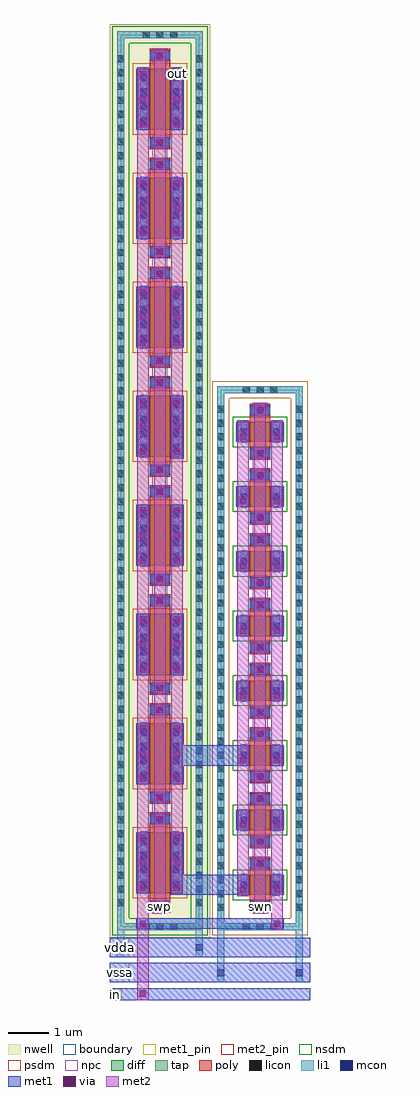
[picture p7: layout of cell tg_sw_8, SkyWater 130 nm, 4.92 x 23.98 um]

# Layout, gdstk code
import gdstk
lib = gdstk.Library(unit=1e-6, precision=1e-09)
def R(c, l, rs):  # rectangles x0, y0, x1, y1
    for r in rs: c.add(gdstk.rectangle(r[:2], r[2:], *l))
def A(c, l, x, y, w, h, nx, ny, dx, dy):  # array of equal rectangles
    R(c, l, [(x+i*dx, y+j*dy, x+i*dx+w, y+j*dy+h) for i in range(nx) for j in range(ny)])
nwell = (64, 20)
diff = (65, 20)
tap = (65, 44)
poly = (66, 20)
licon = (66, 44)
li1 = (67, 20)
mcon = (67, 44)
met1_pin = (68, 16)
met1 = (68, 20)
via = (68, 44)
met2_pin = (69, 16)
met2 = (69, 20)
nsdm = (93, 44)
psdm = (94, 20)
npc = (95, 20)
boundary = (235, 4)

sky130_fd_pr__nfet_01v8_ = lib.new_cell('sky130_fd_pr__nfet_01v8_KDBLWN')
A(sky130_fd_pr__nfet_01v8_, diff, -0.54, -5.815, 1.08, 0.5, 1, 8, 0, 1.59)
R(sky130_fd_pr__nfet_01v8_, tap, [(-1.05,-6.685,1.05,-6.515), (-1.05,-6.515,-0.88,6.515), (0.88,-6.515,1.05,6.515), (-1.05,6.515,1.05,6.685)])
A(sky130_fd_pr__nfet_01v8_, poly, -0.25, -6.255, 0.5, 1.38, 1, 8, 0, 1.59)
A(sky130_fd_pr__nfet_01v8_, licon, -0.425, -6.685, 0.17, 0.17, 3, 2, 0.34, 13.2)
A(sky130_fd_pr__nfet_01v8_, licon, -1.05, -6.205, 0.17, 0.17, 1, 37, 0, 0.34)
A(sky130_fd_pr__nfet_01v8_, licon, 0.88, -6.205, 0.17, 0.17, 1, 37, 0, 0.34)
A(sky130_fd_pr__nfet_01v8_, licon, -0.48, -5.65, 0.17, 0.17, 1, 8, 0, 1.59)
A(sky130_fd_pr__nfet_01v8_, licon, 0.31, -5.65, 0.17, 0.17, 1, 8, 0, 1.59)
R(sky130_fd_pr__nfet_01v8_, licon, [(-0.085,-6.175,0.085,-6.005), (-0.085,-5.125,0.085,-4.955), (-0.085,-4.585,0.085,-4.415), (-0.085,-3.535,0.085,-3.365), (-0.085,-2.995,0.085,-2.825), (-0.085,-1.945,0.085,-1.775), (-0.085,-1.405,0.085,-1.235), (-0.085,-0.355,0.085,-0.185), (-0.085,0.185,0.085,0.355), (-0.085,1.235,0.085,1.405), (-0.085,1.775,0.085,1.945), (-0.085,2.825,0.085,2.995), (-0.085,3.365,0.085,3.535), (-0.085,4.415,0.085,4.585), (-0.085,4.955,0.085,5.125), (-0.085,6.005,0.085,6.175)])
A(sky130_fd_pr__nfet_01v8_, li1, -0.48, -5.835, 0.17, 0.54, 1, 8, 0, 1.59)
A(sky130_fd_pr__nfet_01v8_, li1, 0.31, -5.835, 0.17, 0.54, 1, 8, 0, 1.59)
R(sky130_fd_pr__nfet_01v8_, li1, [(-1.05,-6.685,1.05,-6.515), (-1.05,-6.515,-0.88,6.515), (0.88,-6.515,1.05,6.515), (-0.25,-6.175,0.25,-6.005), (-0.25,-5.125,0.25,-4.955), (-0.25,-4.585,0.25,-4.415), (-0.25,-3.535,0.25,-3.365), (-0.25,-2.995,0.25,-2.825), (-0.25,-1.945,0.25,-1.775), (-0.25,-1.405,0.25,-1.235), (-0.25,-0.355,0.25,-0.185), (-0.25,0.185,0.25,0.355), (-0.25,1.235,0.25,1.405), (-0.25,1.775,0.25,1.945), (-0.25,2.825,0.25,2.995), (-0.25,3.365,0.25,3.535), (-0.25,4.415,0.25,4.585), (-0.25,4.955,0.25,5.125), (-0.25,6.005,0.25,6.175), (-1.05,6.515,1.05,6.685)])
A(sky130_fd_pr__nfet_01v8_, mcon, -0.48, -5.65, 0.17, 0.17, 1, 8, 0, 1.59)
A(sky130_fd_pr__nfet_01v8_, mcon, 0.31, -5.65, 0.17, 0.17, 1, 8, 0, 1.59)
R(sky130_fd_pr__nfet_01v8_, mcon, [(-0.085,-6.175,0.085,-6.005), (-0.085,-5.125,0.085,-4.955), (-0.085,-4.585,0.085,-4.415), (-0.085,-3.535,0.085,-3.365), (-0.085,-2.995,0.085,-2.825), (-0.085,-1.945,0.085,-1.775), (-0.085,-1.405,0.085,-1.235), (-0.085,-0.355,0.085,-0.185), (-0.085,0.185,0.085,0.355), (-0.085,1.235,0.085,1.405), (-0.085,1.775,0.085,1.945), (-0.085,2.825,0.085,2.995), (-0.085,3.365,0.085,3.535), (-0.085,4.415,0.085,4.585), (-0.085,4.955,0.085,5.125), (-0.085,6.005,0.085,6.175)])
A(sky130_fd_pr__nfet_01v8_, met1, -0.51, -5.815, 0.23, 0.5, 1, 8, 0, 1.59)
A(sky130_fd_pr__nfet_01v8_, met1, 0.28, -5.815, 0.23, 0.5, 1, 8, 0, 1.59)
R(sky130_fd_pr__nfet_01v8_, met1, [(-0.23,-6.205,0.23,-5.975), (-0.23,-5.155,0.23,-4.925), (-0.23,-4.615,0.23,-4.385), (-0.23,-3.565,0.23,-3.335), (-0.23,-3.025,0.23,-2.795), (-0.23,-1.975,0.23,-1.745), (-0.23,-1.435,0.23,-1.205), (-0.23,-0.385,0.23,-0.155), (-0.23,0.155,0.23,0.385), (-0.23,1.205,0.23,1.435), (-0.23,1.745,0.23,1.975), (-0.23,2.795,0.23,3.025), (-0.23,3.335,0.23,3.565), (-0.23,4.385,0.23,4.615), (-0.23,4.925,0.23,5.155), (-0.23,5.975,0.23,6.205)])
A(sky130_fd_pr__nfet_01v8_, nsdm, -0.665, -5.94, 1.33, 0.75, 1, 8, 0, 1.59)
R(sky130_fd_pr__nfet_01v8_, psdm, [(-1.175,-6.81,1.175,-6.39), (-1.175,-6.39,-0.755,6.39), (0.755,-6.39,1.175,6.39), (-1.175,6.39,1.175,6.81)])
A(sky130_fd_pr__nfet_01v8_, npc, -0.185, -5.225, 0.37, 0.91, 1, 7, 0, 1.59)
R(sky130_fd_pr__nfet_01v8_, npc, [(-0.185,-6.275,0.185,-5.905), (-0.185,5.905,0.185,6.275)])
R(sky130_fd_pr__nfet_01v8_, boundary, [(-0.965,-6.6,0.965,6.6)])

sky130_fd_pr__pfet_01v8_ = lib.new_cell('sky130_fd_pr__pfet_01v8_TMYUV5')
R(sky130_fd_pr__pfet_01v8_, nwell, [(-1.23,-11.225,1.23,11.225)])
A(sky130_fd_pr__pfet_01v8_, diff, -0.54, -10.13, 1.08, 1.5, 1, 8, 0, 2.68)
R(sky130_fd_pr__pfet_01v8_, tap, [(-1.05,-11.045,1.05,-10.875), (-1.05,-10.875,-0.88,10.875), (0.88,-10.875,1.05,10.875), (-1.05,10.875,1.05,11.045)])
A(sky130_fd_pr__pfet_01v8_, poly, -0.25, -10.615, 0.5, 2.47, 1, 8, 0, 2.68)
A(sky130_fd_pr__pfet_01v8_, licon, -0.425, -11.045, 0.17, 0.17, 3, 2, 0.34, 21.92)
A(sky130_fd_pr__pfet_01v8_, licon, -1.05, -10.455, 0.17, 0.17, 1, 62, 0, 0.34)
A(sky130_fd_pr__pfet_01v8_, licon, 0.88, -10.455, 0.17, 0.17, 1, 62, 0, 0.34)
A(sky130_fd_pr__pfet_01v8_, licon, -0.48, -9.975, 0.17, 0.17, 1, 4, 0, 0.34)
A(sky130_fd_pr__pfet_01v8_, licon, 0.31, -9.975, 0.17, 0.17, 1, 4, 0, 0.34)
A(sky130_fd_pr__pfet_01v8_, licon, -0.48, -7.295, 0.17, 0.17, 1, 4, 0, 0.34)
A(sky130_fd_pr__pfet_01v8_, licon, 0.31, -7.295, 0.17, 0.17, 1, 4, 0, 0.34)
A(sky130_fd_pr__pfet_01v8_, licon, -0.48, -4.615, 0.17, 0.17, 1, 4, 0, 0.34)
A(sky130_fd_pr__pfet_01v8_, licon, 0.31, -4.615, 0.17, 0.17, 1, 4, 0, 0.34)
A(sky130_fd_pr__pfet_01v8_, licon, -0.48, -1.935, 0.17, 0.17, 1, 4, 0, 0.34)
A(sky130_fd_pr__pfet_01v8_, licon, 0.31, -1.935, 0.17, 0.17, 1, 4, 0, 0.34)
A(sky130_fd_pr__pfet_01v8_, licon, -0.48, 0.745, 0.17, 0.17, 1, 4, 0, 0.34)
A(sky130_fd_pr__pfet_01v8_, licon, 0.31, 0.745, 0.17, 0.17, 1, 4, 0, 0.34)
A(sky130_fd_pr__pfet_01v8_, licon, -0.48, 3.425, 0.17, 0.17, 1, 4, 0, 0.34)
A(sky130_fd_pr__pfet_01v8_, licon, 0.31, 3.425, 0.17, 0.17, 1, 4, 0, 0.34)
A(sky130_fd_pr__pfet_01v8_, licon, -0.48, 6.105, 0.17, 0.17, 1, 4, 0, 0.34)
A(sky130_fd_pr__pfet_01v8_, licon, 0.31, 6.105, 0.17, 0.17, 1, 4, 0, 0.34)
A(sky130_fd_pr__pfet_01v8_, licon, -0.48, 8.785, 0.17, 0.17, 1, 4, 0, 0.34)
A(sky130_fd_pr__pfet_01v8_, licon, 0.31, 8.785, 0.17, 0.17, 1, 4, 0, 0.34)
R(sky130_fd_pr__pfet_01v8_, licon, [(-0.085,-10.535,0.085,-10.365), (-0.085,-8.395,0.085,-8.225), (-0.085,-7.855,0.085,-7.685), (-0.085,-5.715,0.085,-5.545), (-0.085,-5.175,0.085,-5.005), (-0.085,-3.035,0.085,-2.865), (-0.085,-2.495,0.085,-2.325), (-0.085,-0.355,0.085,-0.185), (-0.085,0.185,0.085,0.355), (-0.085,2.325,0.085,2.495), (-0.085,2.865,0.085,3.035), (-0.085,5.005,0.085,5.175), (-0.085,5.545,0.085,5.715), (-0.085,7.685,0.085,7.855), (-0.085,8.225,0.085,8.395), (-0.085,10.365,0.085,10.535)])
A(sky130_fd_pr__pfet_01v8_, li1, -0.48, -10.15, 0.17, 1.54, 1, 8, 0, 2.68)
A(sky130_fd_pr__pfet_01v8_, li1, 0.31, -10.15, 0.17, 1.54, 1, 8, 0, 2.68)
R(sky130_fd_pr__pfet_01v8_, li1, [(-1.05,-11.045,1.05,-10.875), (-1.05,-10.875,-0.88,10.875), (0.88,-10.875,1.05,10.875), (-0.25,-10.535,0.25,-10.365), (-0.25,-8.395,0.25,-8.225), (-0.25,-7.855,0.25,-7.685), (-0.25,-5.715,0.25,-5.545), (-0.25,-5.175,0.25,-5.005), (-0.25,-3.035,0.25,-2.865), (-0.25,-2.495,0.25,-2.325), (-0.25,-0.355,0.25,-0.185), (-0.25,0.185,0.25,0.355), (-0.25,2.325,0.25,2.495), (-0.25,2.865,0.25,3.035), (-0.25,5.005,0.25,5.175), (-0.25,5.545,0.25,5.715), (-0.25,7.685,0.25,7.855), (-0.25,8.225,0.25,8.395), (-0.25,10.365,0.25,10.535), (-1.05,10.875,1.05,11.045)])
A(sky130_fd_pr__pfet_01v8_, mcon, -0.48, -10.005, 0.17, 0.17, 1, 4, 0, 0.36)
A(sky130_fd_pr__pfet_01v8_, mcon, 0.31, -10.005, 0.17, 0.17, 1, 4, 0, 0.36)
A(sky130_fd_pr__pfet_01v8_, mcon, -0.48, -7.325, 0.17, 0.17, 1, 4, 0, 0.36)
A(sky130_fd_pr__pfet_01v8_, mcon, 0.31, -7.325, 0.17, 0.17, 1, 4, 0, 0.36)
A(sky130_fd_pr__pfet_01v8_, mcon, -0.48, -4.645, 0.17, 0.17, 1, 4, 0, 0.36)
A(sky130_fd_pr__pfet_01v8_, mcon, 0.31, -4.645, 0.17, 0.17, 1, 4, 0, 0.36)
A(sky130_fd_pr__pfet_01v8_, mcon, -0.48, -1.965, 0.17, 0.17, 1, 4, 0, 0.36)
A(sky130_fd_pr__pfet_01v8_, mcon, 0.31, -1.965, 0.17, 0.17, 1, 4, 0, 0.36)
A(sky130_fd_pr__pfet_01v8_, mcon, -0.48, 0.715, 0.17, 0.17, 1, 4, 0, 0.36)
A(sky130_fd_pr__pfet_01v8_, mcon, 0.31, 0.715, 0.17, 0.17, 1, 4, 0, 0.36)
A(sky130_fd_pr__pfet_01v8_, mcon, -0.48, 3.395, 0.17, 0.17, 1, 4, 0, 0.36)
A(sky130_fd_pr__pfet_01v8_, mcon, 0.31, 3.395, 0.17, 0.17, 1, 4, 0, 0.36)
A(sky130_fd_pr__pfet_01v8_, mcon, -0.48, 6.075, 0.17, 0.17, 1, 4, 0, 0.36)
A(sky130_fd_pr__pfet_01v8_, mcon, 0.31, 6.075, 0.17, 0.17, 1, 4, 0, 0.36)
A(sky130_fd_pr__pfet_01v8_, mcon, -0.48, 8.755, 0.17, 0.17, 1, 4, 0, 0.36)
A(sky130_fd_pr__pfet_01v8_, mcon, 0.31, 8.755, 0.17, 0.17, 1, 4, 0, 0.36)
R(sky130_fd_pr__pfet_01v8_, mcon, [(-0.085,-10.535,0.085,-10.365), (-0.085,-8.395,0.085,-8.225), (-0.085,-7.855,0.085,-7.685), (-0.085,-5.715,0.085,-5.545), (-0.085,-5.175,0.085,-5.005), (-0.085,-3.035,0.085,-2.865), (-0.085,-2.495,0.085,-2.325), (-0.085,-0.355,0.085,-0.185), (-0.085,0.185,0.085,0.355), (-0.085,2.325,0.085,2.495), (-0.085,2.865,0.085,3.035), (-0.085,5.005,0.085,5.175), (-0.085,5.545,0.085,5.715), (-0.085,7.685,0.085,7.855), (-0.085,8.225,0.085,8.395), (-0.085,10.365,0.085,10.535)])
A(sky130_fd_pr__pfet_01v8_, met1, -0.51, -10.13, 0.23, 1.5, 1, 8, 0, 2.68)
A(sky130_fd_pr__pfet_01v8_, met1, 0.28, -10.13, 0.23, 1.5, 1, 8, 0, 2.68)
R(sky130_fd_pr__pfet_01v8_, met1, [(-0.23,-10.565,0.23,-10.335), (-0.23,-8.425,0.23,-8.195), (-0.23,-7.885,0.23,-7.655), (-0.23,-5.745,0.23,-5.515), (-0.23,-5.205,0.23,-4.975), (-0.23,-3.065,0.23,-2.835), (-0.23,-2.525,0.23,-2.295), (-0.23,-0.385,0.23,-0.155), (-0.23,0.155,0.23,0.385), (-0.23,2.295,0.23,2.525), (-0.23,2.835,0.23,3.065), (-0.23,4.975,0.23,5.205), (-0.23,5.515,0.23,5.745), (-0.23,7.655,0.23,7.885), (-0.23,8.195,0.23,8.425), (-0.23,10.335,0.23,10.565)])
R(sky130_fd_pr__pfet_01v8_, nsdm, [(-1.175,-11.17,1.175,-10.75), (-1.175,-10.75,-0.755,10.75), (0.755,-10.75,1.175,10.75), (-1.175,10.75,1.175,11.17)])
A(sky130_fd_pr__pfet_01v8_, psdm, -0.665, -10.255, 1.33, 1.75, 1, 8, 0, 2.68)
A(sky130_fd_pr__pfet_01v8_, npc, -0.185, -8.495, 0.37, 0.91, 1, 7, 0, 2.68)
R(sky130_fd_pr__pfet_01v8_, npc, [(-0.185,-10.635,0.185,-10.265), (-0.185,10.265,0.185,10.635)])
R(sky130_fd_pr__pfet_01v8_, boundary, [(-0.965,-10.96,0.965,10.96)])

tg_sw_8 = lib.new_cell('tg_sw_8')
R(tg_sw_8, li1, [(2.985,-10.86,3.155,-9.41), (4.915,-10.86,5.085,-9.41), (0.525,-10.24,0.695,-9.41), (2.455,-10.24,2.625,-9.41)])
R(tg_sw_8, mcon, [(2.985,-10.705,3.155,-10.535), (4.915,-10.705,5.085,-10.535), (0.525,-10.085,0.695,-9.915), (2.455,-10.085,2.625,-9.915)])
R(tg_sw_8, met1_pin, [(0.345,-11.29,0.635,-11), (0.345,-10.86,0.825,-10.38), (0.345,-10.24,0.825,-9.76)])
A(tg_sw_8, met1, 4.295, -8.71, 0.32, 0.5, 1, 8, 0, 1.59)
A(tg_sw_8, met1, 0.995, -8.665, 0.32, 1.5, 1, 8, 0, 2.68)
A(tg_sw_8, met1, 3.455, -3.94, 0.32, 0.5, 1, 5, 0, 1.59)
A(tg_sw_8, met1, 1.835, 4.735, 0.32, 1.5, 1, 3, 0, 2.68)
R(tg_sw_8, met1, [(0.345,-11.29,5.265,-11), (0.345,-10.86,5.265,-10.38), (0.345,-10.24,5.265,-9.76), (0.995,-9.545,4.615,-9.285), (1.345,-9.115,1.805,-8.855), (3.805,-9.115,4.265,-8.855), (1.835,-8.71,3.775,-8.21), (1.835,-8.21,2.155,-7.165), (3.805,-8.065,4.265,-7.805), (3.805,-7.525,4.265,-7.265), (3.455,-7.12,3.775,-6.62), (1.345,-6.975,1.805,-6.715), (3.805,-6.475,4.265,-6.215), (1.345,-6.435,1.805,-6.175), (1.835,-5.985,2.155,-5.53), (3.805,-5.935,4.265,-5.675), (1.835,-5.53,3.775,-5.03), (1.835,-5.03,2.155,-4.485), (3.805,-4.885,4.265,-4.625), (3.805,-4.345,4.265,-4.085), (1.345,-4.295,1.805,-4.035), (1.345,-3.755,1.805,-3.495), (1.835,-3.305,2.155,-1.805), (3.805,-3.295,4.265,-3.035), (3.805,-2.755,4.265,-2.495), (3.805,-1.705,4.265,-1.445), (1.345,-1.615,1.805,-1.355), (3.805,-1.165,4.265,-0.905), (1.345,-1.075,1.805,-0.815), (1.835,-0.625,2.155,0.875), (3.805,-0.115,4.265,0.145), (3.805,0.425,4.265,0.685), (1.345,1.065,1.805,1.325), (3.805,1.475,4.265,1.735), (1.345,1.605,1.805,1.865), (1.835,2.01,2.155,3.555), (3.805,2.015,4.265,2.275), (3.805,3.065,4.265,3.325), (1.345,3.745,1.805,4.005), (1.345,4.285,1.805,4.545), (1.345,6.425,1.805,6.685), (1.345,6.965,1.805,7.225), (1.345,9.105,1.805,9.365), (1.345,9.645,1.805,9.905), (1.345,11.785,1.805,12.045)])
A(tg_sw_8, via, 3.54, -8.655, 0.15, 0.15, 1, 8, 0, 1.59)
A(tg_sw_8, via, 4.38, -8.655, 0.15, 0.15, 1, 8, 0, 1.59)
A(tg_sw_8, via, 1.08, -8.61, 0.15, 0.15, 1, 3, 0, 0.62)
A(tg_sw_8, via, 1.92, -8.61, 0.15, 0.15, 1, 3, 0, 0.62)
A(tg_sw_8, via, 1.08, -5.93, 0.15, 0.15, 1, 3, 0, 0.62)
A(tg_sw_8, via, 1.92, -5.93, 0.15, 0.15, 1, 3, 0, 0.62)
A(tg_sw_8, via, 1.08, -3.25, 0.15, 0.15, 1, 3, 0, 0.62)
A(tg_sw_8, via, 1.92, -3.25, 0.15, 0.15, 1, 3, 0, 0.62)
A(tg_sw_8, via, 1.08, -0.57, 0.15, 0.15, 1, 3, 0, 0.62)
A(tg_sw_8, via, 1.92, -0.57, 0.15, 0.15, 1, 3, 0, 0.62)
A(tg_sw_8, via, 1.08, 2.11, 0.15, 0.15, 1, 3, 0, 0.62)
A(tg_sw_8, via, 1.92, 2.11, 0.15, 0.15, 1, 3, 0, 0.62)
A(tg_sw_8, via, 1.08, 4.79, 0.15, 0.15, 1, 3, 0, 0.62)
A(tg_sw_8, via, 1.92, 4.79, 0.15, 0.15, 1, 3, 0, 0.62)
A(tg_sw_8, via, 1.08, 7.47, 0.15, 0.15, 1, 3, 0, 0.62)
A(tg_sw_8, via, 1.92, 7.47, 0.15, 0.15, 1, 3, 0, 0.62)
A(tg_sw_8, via, 1.08, 10.15, 0.15, 0.15, 1, 3, 0, 0.62)
A(tg_sw_8, via, 1.92, 10.15, 0.15, 0.15, 1, 3, 0, 0.62)
R(tg_sw_8, via, [(1.08,-11.205,1.23,-11.055), (1.08,-9.49,1.23,-9.34), (4.38,-9.49,4.53,-9.34), (1.5,-9.06,1.65,-8.91), (3.96,-9.06,4.11,-8.91), (3.96,-8.01,4.11,-7.86), (3.96,-7.47,4.11,-7.32), (1.5,-6.92,1.65,-6.77), (3.96,-6.42,4.11,-6.27), (1.5,-6.38,1.65,-6.23), (3.96,-5.88,4.11,-5.73), (3.96,-4.83,4.11,-4.68), (3.96,-4.29,4.11,-4.14), (1.5,-4.24,1.65,-4.09), (1.5,-3.7,1.65,-3.55), (3.96,-3.24,4.11,-3.09), (3.96,-2.7,4.11,-2.55), (3.96,-1.65,4.11,-1.5), (1.5,-1.56,1.65,-1.41), (3.96,-1.11,4.11,-0.96), (1.5,-1.02,1.65,-0.87), (3.96,-0.06,4.11,0.09), (3.96,0.48,4.11,0.63), (1.5,1.12,1.65,1.27), (3.96,1.53,4.11,1.68), (1.5,1.66,1.65,1.81), (3.96,2.07,4.11,2.22), (3.96,3.12,4.11,3.27), (1.5,3.8,1.65,3.95), (1.5,4.34,1.65,4.49), (1.5,6.48,1.65,6.63), (1.5,7.02,1.65,7.17), (1.5,9.16,1.65,9.31), (1.5,9.7,1.65,9.85), (1.5,11.84,1.65,11.99)])
R(tg_sw_8, met2_pin, [(1.445,-9.115,1.705,-8.855), (3.905,-9.115,4.165,-8.855), (1.865,11.335,2.125,11.595)])
R(tg_sw_8, met2, [(1.015,-11.29,1.295,11.625), (4.315,-9.575,4.595,2.95), (1.435,-9.145,1.715,12.075), (3.895,-9.145,4.175,3.355), (3.475,-8.74,3.755,2.95), (1.855,-8.695,2.135,11.625)])
tg_sw_8.add(gdstk.Reference(sky130_fd_pr__nfet_01v8_, (4.035,-2.895)))
tg_sw_8.add(gdstk.Reference(sky130_fd_pr__pfet_01v8_, (1.575,1.465)))
tg_sw_8.add(gdstk.Label('vdda', (0.585,-10), layer=68, texttype=5))
tg_sw_8.add(gdstk.Label('swp', (1.575,-8.985), layer=69, texttype=5))
tg_sw_8.add(gdstk.Label('swn', (4.035,-8.985), layer=69, texttype=5))
tg_sw_8.add(gdstk.Label('vssa', (0.585,-10.62), layer=68, texttype=5))
tg_sw_8.add(gdstk.Label('in', (0.49,-11.145), layer=68, texttype=5))
tg_sw_8.add(gdstk.Label('out', (1.995,11.465), layer=69, texttype=5))

lib.write_gds('tg_sw_8.gds')
